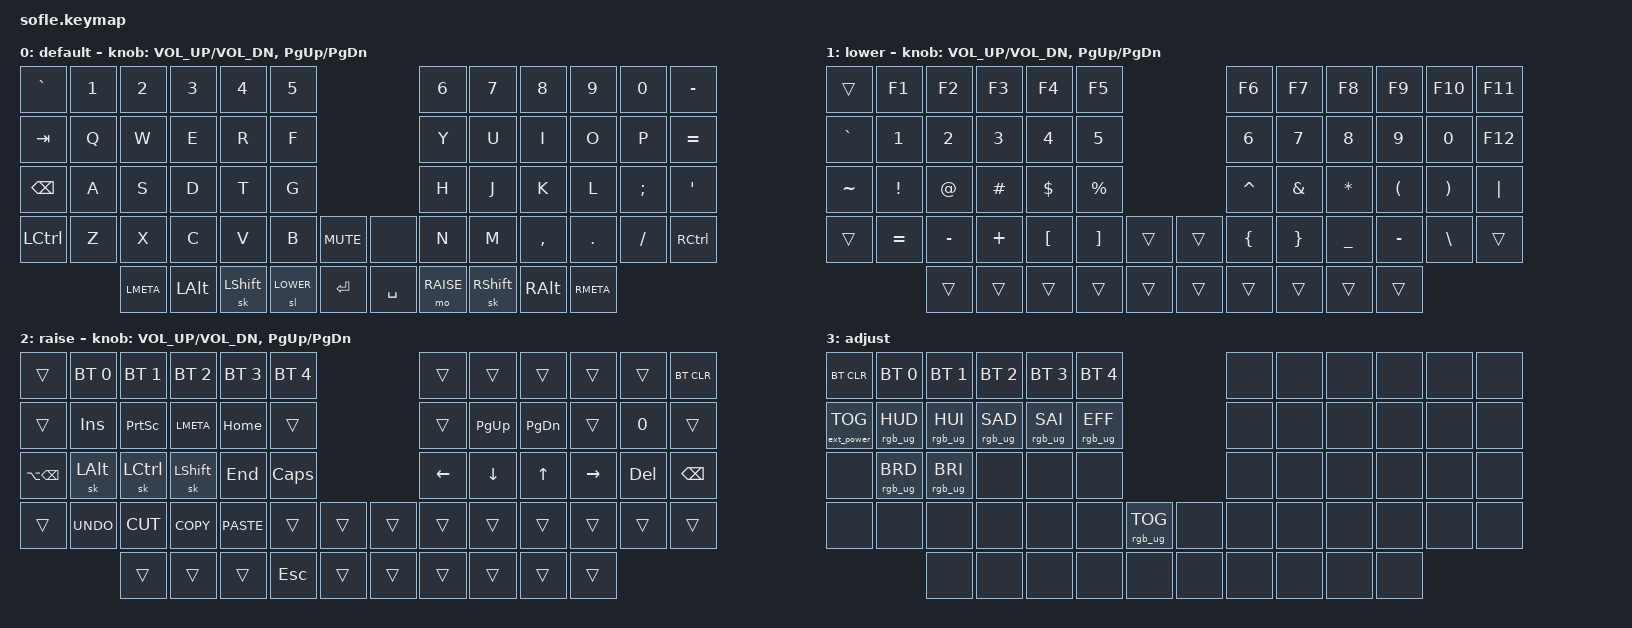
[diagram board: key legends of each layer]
/*
 * Copyright (c) 2020 The ZMK Contributors
 *
 * SPDX-License-Identifier: MIT
 */

#include <behaviors.dtsi>
#include <dt-bindings/zmk/keys.h>
#include <dt-bindings/zmk/bt.h>
#include <dt-bindings/zmk/rgb.h>
#include <dt-bindings/zmk/ext_power.h>

#define BASE 0
#define LOWER 1
#define RAISE 2
#define ADJUST 3

/ {

   // Activate ADJUST layer by pressing raise and lower
    conditional_layers {
        compatible = "zmk,conditional-layers";
        adjust_layer {
            if-layers = <LOWER RAISE>;
            then-layer = <ADJUST>;
        };
    };

    keymap {
        compatible = "zmk,keymap";

        default_layer {
            display-name = "default";
// ------------------------------------------------------------------------------------------------------------
// |   `   |  1  |  2   |  3   |  4   |  5   |                   |  6   |  7    |  8    |  9    |   0   |   -   |
// |  TAB  |  Q  |  W   |  E   |  R   |  F   |                   |  Y   |  U    |  I    |  O    |   P   |   =   |
// | BKSPC |  A  |  S   |  D   |  T   |  G   |                   |  H   |  J    |  K    |  L    |   ;   |   '   |
// | CTRL  |  Z  |  X   |  C   |  V   |  B   |  MUTE  |  |       |  N   |  M    |  ,    |  .    |   /   | CTRL  |
//               | META | ALT  | SHIFT| LOWER|  ENTER |  | SPACE | RAISE| SHIFT | ALT   | META  |
            bindings = <
&kp GRAVE &kp N1 &kp N2    &kp N3   &kp N4    &kp N5                           &kp N6     &kp N7    &kp N8    &kp N9   &kp N0   &kp MINUS
&kp TAB   &kp Q  &kp W     &kp E    &kp R     &kp F                            &kp Y      &kp U     &kp I     &kp O    &kp P    &kp EQUAL
&kp BSPC  &kp A  &kp S     &kp D    &kp T     &kp G                            &kp H      &kp J     &kp K     &kp L    &kp SEMI &kp SQT
&kp LCTRL &kp Z  &kp X     &kp C    &kp V     &kp B      &kp C_MUTE &none      &kp N      &kp M     &kp COMMA &kp DOT  &kp FSLH &kp RCTRL
                 &kp LMETA &kp LALT &sk LSHFT &sl LOWER  &kp RET    &kp SPACE  &mo RAISE  &sk RSHFT &kp RALT  &kp RMETA
            >;

            sensor-bindings = <&inc_dec_kp C_VOL_UP C_VOL_DN &inc_dec_kp PG_UP PG_DN>;
        };

        lower_layer {
            display-name = "lower";
// TODO: Some binds are waiting for shifted keycode support.
// ------------------------------------------------------------------------------------------------------------
// |       |  F1 |  F2 |  F3  |  F4  |  F5  |                   |  F6  |  F7   |  F8   |  F9  |  F10  |  F11  |
// |   `   |  1  |  2  |  3   |  4   |  5   |                   |  6   |  7    |  8    |  9   |   0   |  F12  |
// |   ~   |  !  |  @  |  #   |  $   |  %   |                   |  ^   |  &    |  *    |  (   |   )   |   |   |
// |       |  =  |  -  |  +   |  [   |  ]   |        |  |       |  {   |  }    |  _    |  -   |   \   |       |
//               |     |      |      |      |        |  |       |      |       |       |      |
            bindings = <
&trans    &kp F1    &kp F2    &kp F3      &kp F4    &kp F5                    &kp F6    &kp F7   &kp F8          &kp F9    &kp F10   &kp F11
&kp GRAVE &kp N1    &kp N2    &kp N3      &kp N4    &kp N5                    &kp N6    &kp N7   &kp N8          &kp N9    &kp N0    &kp F12
&kp TILDE &kp EXCL  &kp AT    &kp HASH    &kp DLLR  &kp PRCNT                 &kp CARET &kp AMPS &kp ASTRK       &kp LPAR  &kp RPAR  &kp PIPE
&trans    &kp EQUAL &kp MINUS &kp PLUS    &kp LBKT  &kp RBKT   &trans &trans  &kp LBRC  &kp RBRC &kp UNDERSCORE  &kp MINUS &kp BSLH  &trans
                    &trans    &trans      &trans    &trans     &trans &trans  &trans    &trans   &trans          &trans
            >;

            sensor-bindings = <&inc_dec_kp C_VOL_UP C_VOL_DN &inc_dec_kp PG_UP PG_DN>;
        };

        raise_layer {
            display-name = "raise";
// ------------------------------------------------------------------------------------------------------------
// |             | BT1  | BT2  |  BT3  |  BT4  |  BT5 |                |     |      |       |      |       | BTCLR |
// |             | INS  | PSCR | META  | HOME  |      |                |     | PGUP | PGDN  |      |       |       |
// | ALT+BKSPC   | ALT  | CTRL | SHIFT | END   | CAPS |                | <-  |   v  |   ^   |  ->  |  DEL  | BKSPC |
// |             | UNDO | CUT  | COPY  | PASTE |      |      |  |      |     |      |       |      |       |       |
//                      |      |       |       | ESC  |      |  |      |     |      |       |      |
            bindings = <
&trans        &bt BT_SEL 0 &bt BT_SEL 1 &bt BT_SEL 2 &bt BT_SEL 3 &bt BT_SEL 4                  &trans    &trans    &trans     &trans    &trans  &bt BT_CLR
&trans        &kp INS      &kp PSCRN    &kp LMETA    &kp HOME     &trans                        &trans    &kp PG_UP &kp PG_DN  &trans    &kp N0  &trans
&kp LA(BSPC)  &sk LALT     &sk LCTRL    &sk LSHFT    &kp END      &kp CLCK                      &kp LEFT  &kp DOWN  &kp UP     &kp RIGHT &kp DEL &kp BSPC
&trans        &kp K_UNDO   &kp K_CUT    &kp K_COPY   &kp K_PASTE  &trans        &trans  &trans  &trans    &trans    &trans     &trans    &trans  &trans
                           &trans       &trans       &trans       &kp ESC       &trans  &trans  &trans    &trans   &trans      &trans
            >;

            sensor-bindings = <&inc_dec_kp C_VOL_UP C_VOL_DN &inc_dec_kp PG_UP PG_DN>;
        };

        adjust_layer {
// ----------------------------------------------------------------------------------------------------------------------------
// | BTCLR  |  BT1    |  BT2    |   BT3   |   BT4   |   BT5   |                  |      |      |       |      |       |       |
// | EXTPWR | RGB_HUD | RGB_HUI | RGB_SAD | RGB_SAI | RGB_EFF |                  |      |      |       |      |       |       |
// |        | RGB_BRD | RGB_BRI |         |         |         |                  |      |      |       |      |       |       |
// |        |         |         |         |         |         | RGB_TOG | |      |      |      |       |      |       |       |
//                    |         |         |         |         |         | |      |      |      |       |      |
            display-name = "adjust";
            bindings = <
&bt BT_CLR        &bt BT_SEL 0    &bt BT_SEL 1    &bt BT_SEL 2    &bt BT_SEL 3    &bt BT_SEL 4                            &none &none &none &none &none &none
&ext_power EP_TOG &rgb_ug RGB_HUD &rgb_ug RGB_HUI &rgb_ug RGB_SAD &rgb_ug RGB_SAI &rgb_ug RGB_EFF                         &none &none &none &none &none &none
&none             &rgb_ug RGB_BRD &rgb_ug RGB_BRI &none           &none           &none                                   &none &none &none &none &none &none
&none             &none           &none           &none           &none           &none            &rgb_ug RGB_TOG &none  &none &none &none &none &none &none
                                  &none           &none           &none           &none            &none           &none  &none &none &none &none
            >;
        };

    };
};
